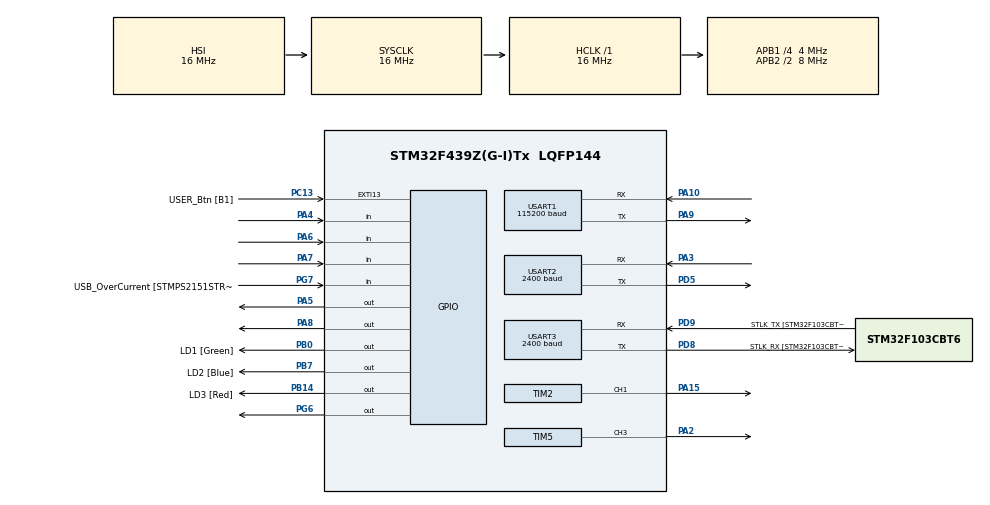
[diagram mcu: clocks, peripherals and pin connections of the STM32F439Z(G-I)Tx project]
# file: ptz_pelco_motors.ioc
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Mcu.Family=STM32F4
Mcu.Name=STM32F439Z(G-I)Tx
Mcu.Package=LQFP144
NVIC.PriorityGroup=NVIC_PRIORITYGROUP_4
NVIC.TIM2_IRQn=true\:0\:0\:false\:false\:true\:true\:true\:true
NVIC.TIM5_IRQn=true\:0\:0\:false\:false\:true\:true\:true\:true
NVIC.USART1_IRQn=true\:0\:0\:false\:false\:true\:true\:true\:true
PA10.Mode=Asynchronous
PA10.Signal=USART1_RX
PA13.Mode=Serial_Wire
PA13.Signal=SYS_JTMS-SWDIO
PA14.Mode=Serial_Wire
PA14.Signal=SYS_JTCK-SWCLK
PA15.Signal=S_TIM2_CH1_ETR
PA2.Signal=S_TIM5_CH3
PA3.Mode=Asynchronous
PA3.Signal=USART2_RX
PA4.GPIO_PuPd=GPIO_PULLUP
PA4.Signal=GPIO_Input
PA5.GPIO_Speed=GPIO_SPEED_FREQ_HIGH
PA5.Signal=GPIO_Output
PA6.GPIO_PuPd=GPIO_PULLUP
PA6.Signal=GPIO_Input
PA7.GPIO_PuPd=GPIO_PULLUP
PA7.Signal=GPIO_Input
PA8.GPIO_Speed=GPIO_SPEED_FREQ_HIGH
PA8.Signal=GPIO_Output
PA9.Mode=Asynchronous
PA9.Signal=USART1_TX
PB0.GPIO_Label=LD1 [Green]
PB0.Signal=GPIO_Output
PB13.GPIO_Label=RMII_TXD1 [LAN8742A-CZ-TR_TXD1]
PB13.Signal=ETH_TXD1
PB14.GPIO_Label=LD3 [Red]
PB14.Signal=GPIO_Output
PB3.Signal=SYS_JTDO-SWO
PB4.Signal=SYS_JTRST
PB7.GPIO_Label=LD2 [Blue]
PB7.Signal=GPIO_Output
PC1.GPIO_Label=RMII_MDC [LAN8742A-CZ-TR_MDC]
PC1.Signal=ETH_MDC
PC13.GPIO_Label=USER_Btn [B1]
PC13.Signal=GPXTI13
PC14/OSC32_IN.Mode=LSE-External-Oscillator
PC14/OSC32_IN.Signal=RCC_OSC32_IN
PC15/OSC32_OUT.Mode=LSE-External-Oscillator
PC15/OSC32_OUT.Signal=RCC_OSC32_OUT
PC4.GPIO_Label=RMII_RXD0 [LAN8742A-CZ-TR_RXD0]
PC4.Signal=ETH_RXD0
PC5.GPIO_Label=RMII_RXD1 [LAN8742A-CZ-TR_RXD1]
PC5.Signal=ETH_RXD1
PD5.Mode=Asynchronous
PD5.Signal=USART2_TX
PD8.GPIO_Label=STLK_RX [STM32F103CBT6_PA3]
PD8.Mode=Asynchronous
PD8.Signal=USART3_TX
PD9.GPIO_Label=STLK_TX [STM32F103CBT6_PA2]
PD9.Mode=Asynchronous
PD9.Signal=USART3_RX
PG11.GPIO_Label=RMII_TX_EN [LAN8742A-CZ-TR_TXEN]
PG11.Signal=ETH_TX_EN
PG13.GPIO_Label=RMII_TXD0 [LAN8742A-CZ-TR_TXD0]
PG13.Signal=ETH_TXD0
PG6.Signal=GPIO_Output
PG7.GPIO_Label=USB_OverCurrent [STMPS2151STR_FAULT]
PG7.Signal=GPIO_Input
ProjectManager.HeapSize=0x200
ProjectManager.StackSize=0x400
ProjectManager.TargetToolchain=STM32CubeIDE
RCC.48MHZClocksFreq_Value=48000000
RCC.AHBFreq_Value=16000000
RCC.APB1CLKDivider=RCC_HCLK_DIV4
RCC.APB1Freq_Value=4000000
RCC.APB1TimFreq_Value=8000000
RCC.APB2CLKDivider=RCC_HCLK_DIV2
RCC.APB2Freq_Value=8000000
RCC.APB2TimFreq_Value=16000000
RCC.CortexFreq_Value=16000000
RCC.HCLKFreq_Value=16000000
RCC.HSE_VALUE=8000000
RCC.HSI_VALUE=16000000
RCC.PLLM=8
RCC.PLLMUL=RCC_PLL_MUL9
RCC.PLLN=72
RCC.PLLQ=3
RCC.PRESCALERUSB=RCC_USBCLKSOURCE_PLL_DIV1_5
RCC.SYSCLKFreq_VALUE=16000000
RCC.SYSCLKSourceVirtual=RCC_SYSCLKSOURCE_PLLCLK
RCC.USBFreq_Value=48000000
RCC.VCOOutputFreq_Value=144000000
SH.S_TIM2_CH1_ETR.0=TIM2_CH1,PWM Generation1 CH1
SH.S_TIM5_CH3.0=TIM5_CH3,PWM Generation3 CH3
TIM2.AutoReloadPreload=TIM_AUTORELOAD_PRELOAD_ENABLE
TIM2.Channel-PWM\ Generation1\ CH1=TIM_CHANNEL_1
TIM2.Period=99
TIM2.Prescaler=49
TIM2.Pulse-PWM\ Generation1\ CH1=50
TIM5.AutoReloadPreload=TIM_AUTORELOAD_PRELOAD_ENABLE
TIM5.Channel-PWM\ Generation3\ CH3=TIM_CHANNEL_3
TIM5.Period=99
TIM5.Prescaler=49
TIM5.Pulse-PWM\ Generation3\ CH3=50
USART1.BaudRate=115200
USART1.Mode=MODE_RX
USART1.VirtualMode=VM_ASYNC
USART2.BaudRate=2400
USART2.VirtualMode=VM_ASYNC
USART3.BaudRate=2400
USART3.VirtualMode=VM_ASYNC
board=NUCLEO-F439ZI

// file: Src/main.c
/* USER CODE BEGIN Header */
/**
  ******************************************************************************
  * @file           : main.c
  * @brief          : Main program body
  ******************************************************************************
  * @attention
  *
  * Copyright (c) 2026 STMicroelectronics.
  * All rights reserved.
  *
  * This software is licensed under terms that can be found in the LICENSE file
  * in the root directory of this software component.
  * If no LICENSE file comes with this software, it is provided AS-IS.
  *
  ******************************************************************************
 * main.c
 *
 *  Created on: 26/11/2025
 *      Author: Avikalp
 *
 *  Description:
 *      This project implements a dual-axis stepper motor driver system using DRV8825 motor drivers
 *      for pan and tilt control. The system is based on an STM32 microcontroller and includes
 *      communication over USART1 through RS485 via the MAX485 transceiver and a virtual COM port via USART3.
 *
 *  Hardware Connections:
 *
 *  Pan Motor (DRV8825):
 *      - Microstepping Pins: M0 = HIGH, M1 = HIGH, M2 = HIGH (1/32 microstepping)
 *      - SLP = HIGH, RST = HIGH
 *      - ENABLE pin = NC  -------X (driver enabled) need to be pulled high to stop motor noise
 *      - STEP  -> PA0 (TIM2 Channel 1)
 *      - DIR   -> PA5 (GPIO OUTPUT, OUTPUT LEVEL=LOW, OUTPUT SPEED = HIGH)
 *      - GND   -> Connected to STM32 GND
 *      - PAN MOTOR HOME -> PA6
 *
 *  Tilt Motor (DRV8825):
 *      - Microstepping Pins: M0 = HIGH, M1 = HIGH, M2 = HIGH (1/32 microstepping)
 *      - SLP = HIGH, RST = HIGH
 *      - ENABLE pin = NC  -------X (driver enabled) need to be pulled high to stop motor noise
 *      - STEP  -> PA2 (TIM5 Channel 3)
 *      - DIR   -> PA8 (GPIO OUTPUT, OUTPUT LEVEL=LOW, OUTPUT SPEED = HIGH)
 *      - GND   -> Connected to STM32 GND
 *      - TILT UP LIMIT -> PA4
 *      - TILT DOWN LIMIT -> PA7
 *
 *  RS485 Communication (MAX485):
 *      - Connected to USART1
 *      - PA10 used for RX -> NVIC global interrupt [EN]
 *      - PA9  used for TX
 *
 *  Virtual COM Port:
 *      - Connected via USART3
 *      - TX Pin -> D8
 *      - RX Pin -> D9
 *
 *      -
 *  Notes:
 *      - Disable LSE crystal resonator, USE HSE
 *      - Ensure proper current limiting for the stepper motors using the DRV8825's potentiometer.
 *      - Microstepping resolution requires proper configuration of M0, M1, M2 logic levels.
 *      - Timer configuration must match the connected pins for STEP signal generation.
 *       - PRESCALE = 49
 *       - PERIOD = 99
 *       - PULSE = 50
 *
 */
/* USER CODE END Header */
#include "main.h"
#include "pelco_decode.h"
#include <stdbool.h>
#include <stdio.h>
#include "motor_move.h"
/* USER CODE END Includes */

/* USER CODE BEGIN PTD */
uint32_t last_telemetry_ms = 0; //==for the step counts and direction and pelco frames not to collide with uart

uint8_t  direction = 0;      // 1=RIGHT/CW, 2=LEFT/CCW
volatile int32_t right_current_step = 0;  // pan absolute position (signed, ISR-maintained)
volatile int32_t left_current_step  = 0;  // legacy, kept for build compat — do not use
volatile int32_t tilt_current_step  = 0;  // tilt absolute position (signed, ISR-maintained)
uint32_t speed_hz = 500;                  // legacy speed variable used by pelco stop calls
/* USER CODE END PTD */

/* USER CODE BEGIN PD */
uint8_t rcvd_byte = 0;
volatile uint8_t cmd1 = 0;
volatile uint8_t cmd2 = 0;
volatile uint8_t pan_speed = 0;
volatile uint8_t tilt_speed = 0;
/* USER CODE END PD */

TIM_HandleTypeDef htim2;
TIM_HandleTypeDef htim5;

UART_HandleTypeDef huart1;
UART_HandleTypeDef huart2;
UART_HandleTypeDef huart3;

/* USER CODE BEGIN PV */
int _write(int file, char *ptr, int len)
{
    HAL_UART_Transmit(&huart3, (uint8_t *)ptr, len, HAL_MAX_DELAY);
    return len;
}

/* USER CODE END PV */

void SystemClock_Config(void);
static void MX_GPIO_Init(void);
static void MX_TIM2_Init(void);
static void MX_USART3_UART_Init(void);
static void MX_USART2_UART_Init(void);
static void MX_TIM5_Init(void);
static void MX_USART1_UART_Init(void);

int main(void)
{

  /* MCU Configuration--------------------------------------------------------*/

  /* Reset of all peripherals, Initializes the Flash interface and the Systick. */
  HAL_Init();

  /* Configure the system clock */
  SystemClock_Config();

  /* Initialize all configured peripherals */
  MX_GPIO_Init();
  MX_TIM2_Init();
  MX_USART3_UART_Init();
  MX_USART2_UART_Init();
  MX_TIM5_Init();
  MX_USART1_UART_Init();
  /* USER CODE BEGIN 2 */
  __HAL_TIM_ENABLE_IT(&htim2, TIM_IT_UPDATE); // for  tim to give output as interrupt also.. for step count
  __HAL_TIM_ENABLE_IT(&htim5, TIM_IT_UPDATE); // for  tim to give output as interrupt also.. for step count

   motor_bsp_init();

   printf("PTZ Controller starting — running startup homing...\r\n");
   process_home_command();   // blocks until both axes are homed
   goto_home_position();     // real home
   printf("Homing complete. Accepting Pelco-D commands.\r\n");

   pelco_set_local_address(0x01);   // matches Hikvision DS-1200KI default
   HAL_UART_Receive_IT(&huart1, &rcvd_byte, 1);
  /* USER CODE END 2 */

   while (1)
     {
  /* Infinite loop */
  /* USER CODE BEGIN WHILE */

	  if (new_pelco_data_ready)
	  {
//	      decode_pelco_command(cmd1, cmd2, pan_speed, tilt_speed);
	      new_pelco_data_ready = 0;
	      ptz_execute_intent();
	      // Add after the ptz_execute_intent() block:
//	      if ((HAL_GetTick() - pelco_last_frame_tick) > 150U)
//	      {
//	          stop_all_motion();
//	      }
	  }

	  uint32_t now = HAL_GetTick();
	  if (now - last_telemetry_ms >= 200)
	  {
	  	 last_telemetry_ms = now;
	  	 printf("[PAN] step=%ld speed=%u | [TILT] speed=%u step=%ld\r\n",
	  	       right_current_step,
	  	       pan_speed,
			   tilt_speed,
			   tilt_current_step);

	  	 		   // Torque diagnostic: print if step count jumps unexpectedly
	  	 		   // If pan resets to 0 without sensor being triggered, it's a false trigger or IRQ noise
	  	 		   // If tilt drifts by >100 steps between sensor hits, it's missed steps = torque
	  	 		   static int32_t last_tilt = 0;
	  	 		   if (abs(tilt_current_step - last_tilt) > 500)
	  	 		   {
	  	 		       printf("TILT JUMP: %ld -> %ld (delta=%ld)\r\n",
	  	 		              last_tilt, tilt_current_step,
	  	 		              tilt_current_step - last_tilt);
	  	 		   }
	  	 		   last_tilt = tilt_current_step;

	  }

	  // Check homing flags set by ISR state machines
      if (pan_home_done_flag == 1)
      {
          pan_home_done_flag = 0;
          printf(">> PAN HOME LOCKED\r\n");
      }
      else if (pan_home_error_flag)
      {
          pan_home_error_flag = 0;
          printf(">> PAN HOME ERROR\r\n");
      }

      if (tilt_home_done_flag)
      {
          tilt_home_done_flag = 0;
          printf(">> TILT HOME LOCKED\r\n");
      }
      else if (tilt_home_error_flag)
      {
          tilt_home_error_flag = 0;
          printf(">> TILT HOME ERROR\r\n");
      }
    /* USER CODE END WHILE */

  }
}

void SystemClock_Config(void)
{
  RCC_OscInitTypeDef RCC_OscInitStruct = {0};
  RCC_ClkInitTypeDef RCC_ClkInitStruct = {0};

  /** Configure the main internal regulator output voltage
  */
  __HAL_RCC_PWR_CLK_ENABLE();
  __HAL_PWR_VOLTAGESCALING_CONFIG(PWR_REGULATOR_VOLTAGE_SCALE3);

  /** Initializes the RCC Oscillators according to the specified parameters
  * in the RCC_OscInitTypeDef structure.
  */
  RCC_OscInitStruct.OscillatorType = RCC_OSCILLATORTYPE_HSI;
  RCC_OscInitStruct.HSIState = RCC_HSI_ON;
  RCC_OscInitStruct.HSICalibrationValue = RCC_HSICALIBRATION_DEFAULT;
  RCC_OscInitStruct.PLL.PLLState = RCC_PLL_NONE;
  if (HAL_RCC_OscConfig(&RCC_OscInitStruct) != HAL_OK)
  {
    Error_Handler();
  }

  /** Initializes the CPU, AHB and APB buses clocks
  */
  RCC_ClkInitStruct.ClockType = RCC_CLOCKTYPE_HCLK|RCC_CLOCKTYPE_SYSCLK
                              |RCC_CLOCKTYPE_PCLK1|RCC_CLOCKTYPE_PCLK2;
  RCC_ClkInitStruct.SYSCLKSource = RCC_SYSCLKSOURCE_HSI;
  RCC_ClkInitStruct.AHBCLKDivider = RCC_SYSCLK_DIV1;
  RCC_ClkInitStruct.APB1CLKDivider = RCC_HCLK_DIV4;
  RCC_ClkInitStruct.APB2CLKDivider = RCC_HCLK_DIV2;

  if (HAL_RCC_ClockConfig(&RCC_ClkInitStruct, FLASH_LATENCY_0) != HAL_OK)
  {
    Error_Handler();
  }
}

static void MX_TIM2_Init(void)
{

  TIM_MasterConfigTypeDef sMasterConfig = {0};
  TIM_OC_InitTypeDef sConfigOC = {0};

  htim2.Instance = TIM2;
  htim2.Init.Prescaler = 49;
  htim2.Init.CounterMode = TIM_COUNTERMODE_UP;
  htim2.Init.Period = 99;
  htim2.Init.ClockDivision = TIM_CLOCKDIVISION_DIV1;
  htim2.Init.AutoReloadPreload = TIM_AUTORELOAD_PRELOAD_ENABLE;
  if (HAL_TIM_PWM_Init(&htim2) != HAL_OK)
  {
    Error_Handler();
  }
  sMasterConfig.MasterOutputTrigger = TIM_TRGO_RESET;
  sMasterConfig.MasterSlaveMode = TIM_MASTERSLAVEMODE_DISABLE;
  if (HAL_TIMEx_MasterConfigSynchronization(&htim2, &sMasterConfig) != HAL_OK)
  {
    Error_Handler();
  }
  sConfigOC.OCMode = TIM_OCMODE_PWM1;
  sConfigOC.Pulse = 50;
  sConfigOC.OCPolarity = TIM_OCPOLARITY_HIGH;
  sConfigOC.OCFastMode = TIM_OCFAST_DISABLE;
  if (HAL_TIM_PWM_ConfigChannel(&htim2, &sConfigOC, TIM_CHANNEL_1) != HAL_OK)
  {
    Error_Handler();
  }
  HAL_TIM_MspPostInit(&htim2);

}

static void MX_TIM5_Init(void)
{

  TIM_MasterConfigTypeDef sMasterConfig = {0};
  TIM_OC_InitTypeDef sConfigOC = {0};

  htim5.Instance = TIM5;
  htim5.Init.Prescaler = 49;
  htim5.Init.CounterMode = TIM_COUNTERMODE_UP;
  htim5.Init.Period = 99;
  htim5.Init.ClockDivision = TIM_CLOCKDIVISION_DIV1;
  htim5.Init.AutoReloadPreload = TIM_AUTORELOAD_PRELOAD_ENABLE;
  if (HAL_TIM_PWM_Init(&htim5) != HAL_OK)
  {
    Error_Handler();
  }
  sMasterConfig.MasterOutputTrigger = TIM_TRGO_RESET;
  sMasterConfig.MasterSlaveMode = TIM_MASTERSLAVEMODE_DISABLE;
  if (HAL_TIMEx_MasterConfigSynchronization(&htim5, &sMasterConfig) != HAL_OK)
  {
    Error_Handler();
  }
  sConfigOC.OCMode = TIM_OCMODE_PWM1;
  sConfigOC.Pulse = 50;
  sConfigOC.OCPolarity = TIM_OCPOLARITY_HIGH;
  sConfigOC.OCFastMode = TIM_OCFAST_DISABLE;
  if (HAL_TIM_PWM_ConfigChannel(&htim5, &sConfigOC, TIM_CHANNEL_3) != HAL_OK)
  {
    Error_Handler();
  }
  HAL_TIM_MspPostInit(&htim5);

}

static void MX_USART1_UART_Init(void)
{

  huart1.Instance = USART1;
  huart1.Init.BaudRate = 115200;
  huart1.Init.WordLength = UART_WORDLENGTH_8B;
  huart1.Init.StopBits = UART_STOPBITS_1;
  huart1.Init.Parity = UART_PARITY_NONE;
  huart1.Init.Mode = UART_MODE_RX;
  huart1.Init.HwFlowCtl = UART_HWCONTROL_NONE;
  huart1.Init.OverSampling = UART_OVERSAMPLING_16;
  if (HAL_UART_Init(&huart1) != HAL_OK)
  {
    Error_Handler();
  }

}

static void MX_USART2_UART_Init(void)
{

  huart2.Instance = USART2;
  huart2.Init.BaudRate = 2400;
  huart2.Init.WordLength = UART_WORDLENGTH_8B;
  huart2.Init.StopBits = UART_STOPBITS_1;
  huart2.Init.Parity = UART_PARITY_NONE;
  huart2.Init.Mode = UART_MODE_TX_RX;
  huart2.Init.HwFlowCtl = UART_HWCONTROL_NONE;
  huart2.Init.OverSampling = UART_OVERSAMPLING_16;
  if (HAL_UART_Init(&huart2) != HAL_OK)
  {
    Error_Handler();
  }

}

static void MX_USART3_UART_Init(void)
{

  huart3.Instance = USART3;
  huart3.Init.BaudRate = 2400;
  huart3.Init.WordLength = UART_WORDLENGTH_8B;
  huart3.Init.StopBits = UART_STOPBITS_1;
  huart3.Init.Parity = UART_PARITY_NONE;
  huart3.Init.Mode = UART_MODE_TX_RX;
  huart3.Init.HwFlowCtl = UART_HWCONTROL_NONE;
  huart3.Init.OverSampling = UART_OVERSAMPLING_16;
  if (HAL_UART_Init(&huart3) != HAL_OK)
  {
    Error_Handler();
  }

}

static void MX_GPIO_Init(void)
{
  GPIO_InitTypeDef GPIO_InitStruct = {0};

  /* GPIO Ports Clock Enable */
  __HAL_RCC_GPIOC_CLK_ENABLE();
  __HAL_RCC_GPIOA_CLK_ENABLE();
  __HAL_RCC_GPIOB_CLK_ENABLE();
  __HAL_RCC_GPIOD_CLK_ENABLE();
  __HAL_RCC_GPIOG_CLK_ENABLE();

  /*Configure GPIO pin Output Level */
  HAL_GPIO_WritePin(GPIOA, GPIO_PIN_5|GPIO_PIN_8, GPIO_PIN_RESET);

  /*Configure GPIO pin Output Level */
  HAL_GPIO_WritePin(GPIOB, LD1_Pin|LD3_Pin|LD2_Pin, GPIO_PIN_RESET);

  /*Configure GPIO pin Output Level */
  HAL_GPIO_WritePin(GPIOG, GPIO_PIN_6, GPIO_PIN_RESET);

  /*Configure GPIO pin : USER_Btn_Pin */
  GPIO_InitStruct.Pin = USER_Btn_Pin;
  GPIO_InitStruct.Mode = GPIO_MODE_IT_RISING;
  GPIO_InitStruct.Pull = GPIO_NOPULL;
  HAL_GPIO_Init(USER_Btn_GPIO_Port, &GPIO_InitStruct);

  /*Configure GPIO pins : RMII_MDC_Pin RMII_RXD0_Pin RMII_RXD1_Pin */
  GPIO_InitStruct.Pin = RMII_MDC_Pin|RMII_RXD0_Pin|RMII_RXD1_Pin;
  GPIO_InitStruct.Mode = GPIO_MODE_AF_PP;
  GPIO_InitStruct.Pull = GPIO_NOPULL;
  GPIO_InitStruct.Speed = GPIO_SPEED_FREQ_VERY_HIGH;
  GPIO_InitStruct.Alternate = GPIO_AF11_ETH;
  HAL_GPIO_Init(GPIOC, &GPIO_InitStruct);

  /*Configure GPIO pins : PA4 PA6 PA7 */
  GPIO_InitStruct.Pin = GPIO_PIN_4|GPIO_PIN_6|GPIO_PIN_7;
  GPIO_InitStruct.Mode = GPIO_MODE_INPUT;
  GPIO_InitStruct.Pull = GPIO_PULLUP;
  HAL_GPIO_Init(GPIOA, &GPIO_InitStruct);

  /*Configure GPIO pins : PA5 PA8 */
  GPIO_InitStruct.Pin = GPIO_PIN_5|GPIO_PIN_8;
  GPIO_InitStruct.Mode = GPIO_MODE_OUTPUT_PP;
  GPIO_InitStruct.Pull = GPIO_NOPULL;
  GPIO_InitStruct.Speed = GPIO_SPEED_FREQ_HIGH;
  HAL_GPIO_Init(GPIOA, &GPIO_InitStruct);

  /*Configure GPIO pins : LD1_Pin LD3_Pin LD2_Pin */
  GPIO_InitStruct.Pin = LD1_Pin|LD3_Pin|LD2_Pin;
  GPIO_InitStruct.Mode = GPIO_MODE_OUTPUT_PP;
  GPIO_InitStruct.Pull = GPIO_NOPULL;
  GPIO_InitStruct.Speed = GPIO_SPEED_FREQ_LOW;
  HAL_GPIO_Init(GPIOB, &GPIO_InitStruct);

  /*Configure GPIO pin : RMII_TXD1_Pin */
  GPIO_InitStruct.Pin = RMII_TXD1_Pin;
  GPIO_InitStruct.Mode = GPIO_MODE_AF_PP;
  GPIO_InitStruct.Pull = GPIO_NOPULL;
  GPIO_InitStruct.Speed = GPIO_SPEED_FREQ_VERY_HIGH;
  GPIO_InitStruct.Alternate = GPIO_AF11_ETH;
  HAL_GPIO_Init(RMII_TXD1_GPIO_Port, &GPIO_InitStruct);

  /*Configure GPIO pin : PG6 */
  GPIO_InitStruct.Pin = GPIO_PIN_6;
  GPIO_InitStruct.Mode = GPIO_MODE_OUTPUT_PP;
  GPIO_InitStruct.Pull = GPIO_NOPULL;
  GPIO_InitStruct.Speed = GPIO_SPEED_FREQ_LOW;
  HAL_GPIO_Init(GPIOG, &GPIO_InitStruct);

  /*Configure GPIO pin : USB_OverCurrent_Pin */
  GPIO_InitStruct.Pin = USB_OverCurrent_Pin;
  GPIO_InitStruct.Mode = GPIO_MODE_INPUT;
  GPIO_InitStruct.Pull = GPIO_NOPULL;
  HAL_GPIO_Init(USB_OverCurrent_GPIO_Port, &GPIO_InitStruct);

  /*Configure GPIO pins : RMII_TX_EN_Pin RMII_TXD0_Pin */
  GPIO_InitStruct.Pin = RMII_TX_EN_Pin|RMII_TXD0_Pin;
  GPIO_InitStruct.Mode = GPIO_MODE_AF_PP;
  GPIO_InitStruct.Pull = GPIO_NOPULL;
  GPIO_InitStruct.Speed = GPIO_SPEED_FREQ_VERY_HIGH;
  GPIO_InitStruct.Alternate = GPIO_AF11_ETH;
  HAL_GPIO_Init(GPIOG, &GPIO_InitStruct);

  /* USER CODE BEGIN MX_GPIO_Init_2 */
  // Configure PA3 for USART2_RX (Alternate Function)
   GPIO_InitStruct.Pin = GPIO_PIN_0;
   GPIO_InitStruct.Mode = GPIO_MODE_AF_PP;
   GPIO_InitStruct.Pull = GPIO_NOPULL;
   GPIO_InitStruct.Speed = GPIO_SPEED_FREQ_HIGH;
   GPIO_InitStruct.Alternate = GPIO_AF1_TIM2;
   HAL_GPIO_Init(GPIOA, &GPIO_InitStruct);

   GPIO_InitStruct.Pin = GPIO_PIN_2;
   GPIO_InitStruct.Alternate = GPIO_AF2_TIM5;
   HAL_GPIO_Init(GPIOA, &GPIO_InitStruct);
  /* USER CODE END MX_GPIO_Init_2 */
}

void Error_Handler(void)
{
  __disable_irq();
  while (1)
  {
  }
}
